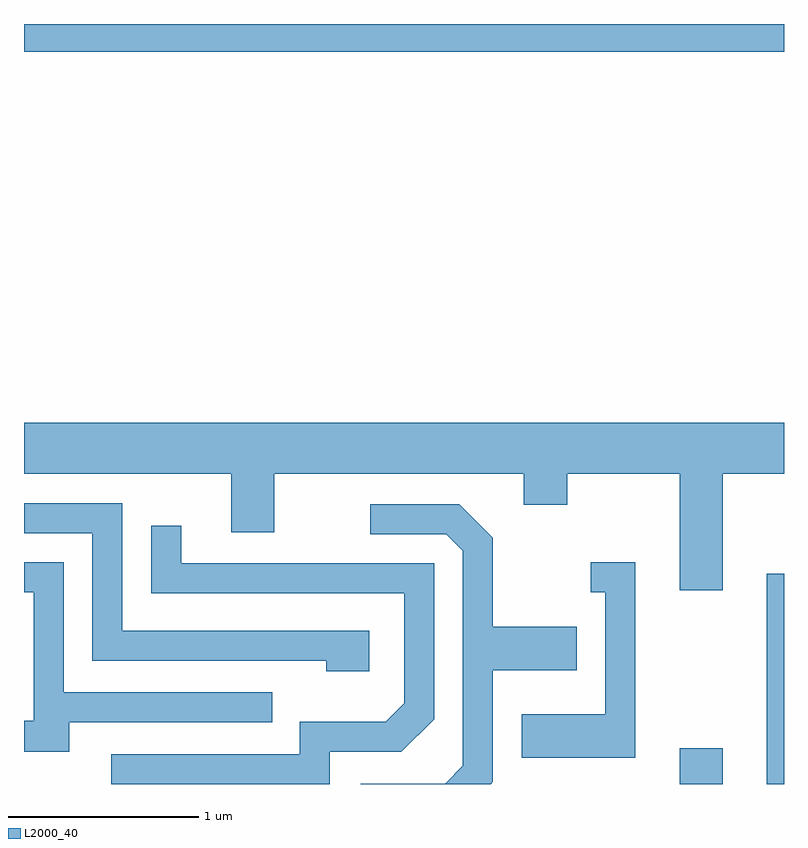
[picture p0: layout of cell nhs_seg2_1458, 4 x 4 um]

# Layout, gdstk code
import gdstk
lib = gdstk.Library(unit=1e-6, precision=1e-09)
def R(c, l, rs):  # rectangles x0, y0, x1, y1
    for r in rs: c.add(gdstk.rectangle(r[:2], r[2:], *l))
def P(c, l, *ps):  # polygons
    for p in ps: c.add(gdstk.Polygon(p, *l))
L2000_40 = (2000, 40)

nhs_seg2_1458 = lib.new_cell('nhs_seg2_1458')
R(nhs_seg2_1458, L2000_40, [(231.061,1037.802,231.289,1037.989), (231.521,1037.802,231.611,1038.909), (227.611,1041.656,231.611,1041.802)])
P(nhs_seg2_1458, L2000_40, [(231.289,1039.436),(231.611,1039.436),(231.611,1039.704),(227.611,1039.704),(227.611,1039.436),(228.701,1039.436),(228.701,1039.126),(228.929,1039.126),(228.929,1039.436),(230.241,1039.436),(230.241,1039.271),(230.469,1039.271),(230.469,1039.436),(231.061,1039.436),(231.061,1038.821),(231.289,1038.821)],
  [(229.429,1038.609),(228.129,1038.609),(228.129,1039.279),(227.611,1039.279),(227.611,1039.121),(227.971,1039.121),(227.971,1038.451),(229.201,1038.451),(229.201,1038.396),(229.429,1038.396)],
  [(230.079,1037.814),(230.079,1038.401),(230.519,1038.401),(230.519,1038.629),(230.079,1038.629),(230.079,1039.097),(229.902,1039.274),(229.433,1039.274),(229.433,1039.116),(229.834,1039.116),(229.921,1039.029),(229.921,1037.897),(229.829,1037.804),(229.383,1037.804),(229.383,1037.802),(230.067,1037.802)],
  [(229.219,1037.971),(229.597,1037.971),(229.769,1038.144),(229.769,1038.964),(228.439,1038.964),(228.439,1039.162),(228.281,1039.162),(228.281,1038.806),(229.611,1038.806),(229.611,1038.227),(229.514,1038.129),(229.061,1038.129),(229.061,1037.959),(228.071,1037.959),(228.071,1037.802),(229.219,1037.802)],
  [(230.829,1038.969),(230.593,1038.969),(230.593,1038.811),(230.671,1038.811),(230.671,1038.169),(230.231,1038.169),(230.231,1037.941),(230.829,1037.941)],
  [(227.849,1038.126),(228.918,1038.126),(228.918,1038.284),(227.819,1038.284),(227.819,1038.969),(227.611,1038.969),(227.611,1038.811),(227.661,1038.811),(227.661,1038.134),(227.611,1038.134),(227.611,1037.971),(227.849,1037.971)])

lib.write_gds('nhs_seg2_1458.gds')
